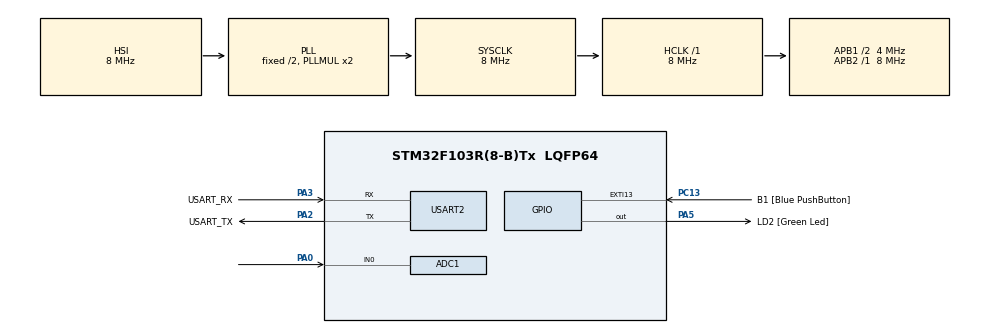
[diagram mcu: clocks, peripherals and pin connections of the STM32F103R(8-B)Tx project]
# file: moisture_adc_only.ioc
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ADC1.Channel-3\#ChannelRegularConversion=ADC_CHANNEL_0
ADC1.EnableAnalogWatchDog=false
ADC1.NbrOfConversionFlag=1
ADC1.Rank-3\#ChannelRegularConversion=1
ADC1.SamplingTime-3\#ChannelRegularConversion=ADC_SAMPLETIME_71CYCLES_5
ADC1.master=1
Mcu.Family=STM32F1
Mcu.Name=STM32F103R(8-B)Tx
Mcu.Package=LQFP64
NVIC.EXTI15_10_IRQn=true\:0\:0\:false\:false\:true\:true\:true\:true
NVIC.PriorityGroup=NVIC_PRIORITYGROUP_4
PA0-WKUP.Signal=ADCx_IN0
PA13.GPIO_Label=TMS
PA13.Mode=Serial_Wire
PA13.Signal=SYS_JTMS-SWDIO
PA14.GPIO_Label=TCK
PA14.Mode=Serial_Wire
PA14.Signal=SYS_JTCK-SWCLK
PA2.GPIO_Label=USART_TX
PA2.GPIO_Mode=GPIO_MODE_AF_PP
PA2.GPIO_PuPd=GPIO_NOPULL
PA2.GPIO_Speed=GPIO_SPEED_FREQ_LOW
PA2.Mode=Asynchronous
PA2.Signal=USART2_TX
PA3.GPIO_Label=USART_RX
PA3.GPIO_Mode=GPIO_MODE_AF_PP
PA3.GPIO_PuPd=GPIO_NOPULL
PA3.GPIO_Speed=GPIO_SPEED_FREQ_LOW
PA3.Mode=Asynchronous
PA3.Signal=USART2_RX
PA5.GPIO_Label=LD2 [Green Led]
PA5.GPIO_ModeDefaultOutputPP=GPIO_MODE_OUTPUT_PP
PA5.GPIO_PuPd=GPIO_NOPULL
PA5.GPIO_Speed=GPIO_SPEED_FREQ_LOW
PA5.Signal=GPIO_Output
PB3.GPIO_Label=SWO
PB3.Signal=SYS_JTDO-TRACESWO
PC13-TAMPER-RTC.GPIO_Label=B1 [Blue PushButton]
PC13-TAMPER-RTC.GPIO_PuPd=GPIO_NOPULL
PC13-TAMPER-RTC.Signal=GPXTI13
PC14-OSC32_IN.Mode=LSE-External-Oscillator
PC14-OSC32_IN.Signal=RCC_OSC32_IN
PC15-OSC32_OUT.Mode=LSE-External-Oscillator
PC15-OSC32_OUT.Signal=RCC_OSC32_OUT
PD0-OSC_IN.Mode=HSE-External-Clock-Source
PD0-OSC_IN.Signal=RCC_OSC_IN
PD1-OSC_OUT.Mode=HSE-External-Clock-Source
PD1-OSC_OUT.Signal=RCC_OSC_OUT
ProjectManager.HeapSize=0x200
ProjectManager.StackSize=0x400
ProjectManager.TargetToolchain=STM32CubeIDE
RCC.AHBFreq_Value=8000000
RCC.APB1CLKDivider=RCC_HCLK_DIV2
RCC.APB1Freq_Value=4000000
RCC.APB1TimFreq_Value=8000000
RCC.APB2Freq_Value=8000000
RCC.APB2TimFreq_Value=8000000
RCC.HCLKFreq_Value=8000000
RCC.RTCClockSelection=RCC_RTCCLKSOURCE_LSE
RCC.SYSCLKFreq_VALUE=8000000
RCC.SYSCLKSource=RCC_SYSCLKSOURCE_PLLCLK
RCC.USBFreq_Value=8000000
SH.ADCx_IN0.0=ADC1_IN0,IN0
USART2.VirtualMode=VM_ASYNC
board=NUCLEO-F103RB

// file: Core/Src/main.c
/* USER CODE BEGIN Header */
/**
  ******************************************************************************
  * @file           : main.c
  * @brief          : Main program body
  ******************************************************************************
  * @attention
  *
  * Copyright (c) 2025 STMicroelectronics.
  * All rights reserved.
  *
  * This software is licensed under terms that can be found in the LICENSE file
  * in the root directory of this software component.
  * If no LICENSE file comes with this software, it is provided AS-IS.
  *
  ******************************************************************************
  */
/* USER CODE END Header */
#include "main.h"
#include <stdio.h>

ADC_HandleTypeDef hadc1;

UART_HandleTypeDef huart2;

void SystemClock_Config(void);
static void MX_GPIO_Init(void);
static void MX_USART2_UART_Init(void);
static void MX_ADC1_Init(void);

/* USER CODE BEGIN 0 */
#define SAMPLE_MS  100   // 샘플링 주기(예: 100ms = 10Hz)
#define PRINT_MS   500   // 출력 주기(예: 0.5s)

static uint8_t  ema_init = 0;
static float    ema_adc  = 0.0f;  // 이동평균(노이즈 완화)

// 단일 샘플 읽기(블로킹이지만 1~2ms)
/* hadc1은 이미 전역으로 선언되어 있으므로 그대로 사용 */
static inline uint32_t adc_read_once(void){
  HAL_ADC_Start(&hadc1);
  HAL_ADC_PollForConversion(&hadc1, 2);
  uint32_t v = HAL_ADC_GetValue(&hadc1);
  HAL_ADC_Stop(&hadc1);
  return v;
}

// printf를 UART2로 리다이렉트
int _write(int file, char *ptr, int len) {
  extern UART_HandleTypeDef huart2;
  HAL_UART_Transmit(&huart2, (uint8_t*)ptr, len, HAL_MAX_DELAY);
  return len;
}

/* 캘리브레이션 값 — 나중에 네 값으로 바꿔줘 */
#define DRY_ADC_F 4018.0f
#define WET_ADC_F 2725.0f

static float moisture_percent(uint32_t adc_u32){
  float adc = (float)adc_u32;
  float den = (WET_ADC_F - DRY_ADC_F);
  if (den > -0.5f && den < 0.5f) return 0.0f; // 안전가드
  float p = (adc - DRY_ADC_F) * 100.0f / den;
  if (p < 0.0f) p = 0.0f;
  if (p > 100.0f) p = 100.0f;
  return p;

  /*
   * if(DRY_ADC>WET_ADC){
    float p=(float)(DRY_ADC-adc)*100.0f/(float)(DRY_ADC-WET_ADC);
    return clampf(p,0.0f,100.0f);
  }else{
    float p=(float)(adc-DRY_ADC)*100.0f/(float)(WET_ADC-DRY_ADC);
    return clampf(p,0.0f,100.0f);
  }
  */
}
/* USER CODE END 0 */

int main(void)
{

  /* MCU Configuration--------------------------------------------------------*/

  /* Reset of all peripherals, Initializes the Flash interface and the Systick. */
  HAL_Init();

  /* Configure the system clock */
  SystemClock_Config();

  /* USER CODE BEGIN SysInit */
  __HAL_RCC_ADC_CONFIG(RCC_ADCPCLK2_DIV6); //PCLK2 / 6(≈12 MHz)
  /* USER CODE END SysInit */

  /* Initialize all configured peripherals */
  MX_GPIO_Init();
  MX_USART2_UART_Init();
  MX_ADC1_Init();
  /* USER CODE BEGIN 2 */
  printf("\r\n[STM32] Soil moisture (ADC only) start\r\n");
  HAL_ADCEx_Calibration_Start(&hadc1); // F1 보정
  uint32_t t_sample = HAL_GetTick();
  uint32_t t_print  = HAL_GetTick();
  /* USER CODE END 2 */

  /* Infinite loop */
  while (1)
  {

    /* USER CODE BEGIN 3 */
	  uint32_t now = HAL_GetTick();

	    // ① 주기적 샘플(10Hz): 이동평균
	    if ((uint32_t)(now - t_sample) >= SAMPLE_MS) {
	      t_sample += SAMPLE_MS;  // 누적형 갱신(드리프트 방지)
	      uint32_t a = adc_read_once();
	      if (!ema_init) { ema_init = 1; ema_adc = (float)a; }
	      else           { ema_adc = 0.8f*ema_adc + 0.2f*(float)a; } // 알파=0.2
	    }

	    // ② 주기적 출력(0.5s)
	    if ((uint32_t)(now - t_print) >= PRINT_MS) {
	      t_print += PRINT_MS;
	      uint32_t adc = (uint32_t)(ema_adc + 0.5f);
	      float volt = 3.3f * (float)adc / 4095.0f;
	      float pct  = moisture_percent(adc);
	      printf("ADC=%lu, V=%.3fV, Moisture=%.1f%%\r\n",
	             (unsigned long)adc, volt, pct);
	    }

	    // CPU 과점유 방지(선택)
	    HAL_Delay(1);
  }
  /* USER CODE END 3 */
}

void SystemClock_Config(void)
{
  RCC_OscInitTypeDef RCC_OscInitStruct = {0};
  RCC_ClkInitTypeDef RCC_ClkInitStruct = {0};
  RCC_PeriphCLKInitTypeDef PeriphClkInit = {0};

  /** Initializes the RCC Oscillators according to the specified parameters
  * in the RCC_OscInitTypeDef structure.
  */
  RCC_OscInitStruct.OscillatorType = RCC_OSCILLATORTYPE_HSI;
  RCC_OscInitStruct.HSIState = RCC_HSI_ON;
  RCC_OscInitStruct.HSICalibrationValue = RCC_HSICALIBRATION_DEFAULT;
  RCC_OscInitStruct.PLL.PLLState = RCC_PLL_ON;
  RCC_OscInitStruct.PLL.PLLSource = RCC_PLLSOURCE_HSI_DIV2;
  RCC_OscInitStruct.PLL.PLLMUL = RCC_PLL_MUL2;
  if (HAL_RCC_OscConfig(&RCC_OscInitStruct) != HAL_OK)
  {
    Error_Handler();
  }

  /** Initializes the CPU, AHB and APB buses clocks
  */
  RCC_ClkInitStruct.ClockType = RCC_CLOCKTYPE_HCLK|RCC_CLOCKTYPE_SYSCLK
                              |RCC_CLOCKTYPE_PCLK1|RCC_CLOCKTYPE_PCLK2;
  RCC_ClkInitStruct.SYSCLKSource = RCC_SYSCLKSOURCE_PLLCLK;
  RCC_ClkInitStruct.AHBCLKDivider = RCC_SYSCLK_DIV1;
  RCC_ClkInitStruct.APB1CLKDivider = RCC_HCLK_DIV2;
  RCC_ClkInitStruct.APB2CLKDivider = RCC_HCLK_DIV1;

  if (HAL_RCC_ClockConfig(&RCC_ClkInitStruct, FLASH_LATENCY_0) != HAL_OK)
  {
    Error_Handler();
  }
  PeriphClkInit.PeriphClockSelection = RCC_PERIPHCLK_ADC;
  PeriphClkInit.AdcClockSelection = RCC_ADCPCLK2_DIV2;
  if (HAL_RCCEx_PeriphCLKConfig(&PeriphClkInit) != HAL_OK)
  {
    Error_Handler();
  }
}

static void MX_ADC1_Init(void)
{

  ADC_ChannelConfTypeDef sConfig = {0};

  /** Common config
  */
  hadc1.Instance = ADC1;
  hadc1.Init.ScanConvMode = ADC_SCAN_DISABLE;
  hadc1.Init.ContinuousConvMode = DISABLE;
  hadc1.Init.DiscontinuousConvMode = DISABLE;
  hadc1.Init.ExternalTrigConv = ADC_SOFTWARE_START;
  hadc1.Init.DataAlign = ADC_DATAALIGN_RIGHT;
  hadc1.Init.NbrOfConversion = 1;
  if (HAL_ADC_Init(&hadc1) != HAL_OK)
  {
    Error_Handler();
  }

  /** Configure Regular Channel
  */
  sConfig.Channel = ADC_CHANNEL_0;
  sConfig.Rank = ADC_REGULAR_RANK_1;
  sConfig.SamplingTime = ADC_SAMPLETIME_71CYCLES_5;
  if (HAL_ADC_ConfigChannel(&hadc1, &sConfig) != HAL_OK)
  {
    Error_Handler();
  }

}

static void MX_USART2_UART_Init(void)
{

  huart2.Instance = USART2;
  huart2.Init.BaudRate = 115200;
  huart2.Init.WordLength = UART_WORDLENGTH_8B;
  huart2.Init.StopBits = UART_STOPBITS_1;
  huart2.Init.Parity = UART_PARITY_NONE;
  huart2.Init.Mode = UART_MODE_TX_RX;
  huart2.Init.HwFlowCtl = UART_HWCONTROL_NONE;
  huart2.Init.OverSampling = UART_OVERSAMPLING_16;
  if (HAL_UART_Init(&huart2) != HAL_OK)
  {
    Error_Handler();
  }

}

static void MX_GPIO_Init(void)
{
  GPIO_InitTypeDef GPIO_InitStruct = {0};

  /* GPIO Ports Clock Enable */
  __HAL_RCC_GPIOC_CLK_ENABLE();
  __HAL_RCC_GPIOD_CLK_ENABLE();
  __HAL_RCC_GPIOA_CLK_ENABLE();
  __HAL_RCC_GPIOB_CLK_ENABLE();

  /*Configure GPIO pin Output Level */
  HAL_GPIO_WritePin(LD2_GPIO_Port, LD2_Pin, GPIO_PIN_RESET);

  /*Configure GPIO pin : B1_Pin */
  GPIO_InitStruct.Pin = B1_Pin;
  GPIO_InitStruct.Mode = GPIO_MODE_IT_RISING;
  GPIO_InitStruct.Pull = GPIO_NOPULL;
  HAL_GPIO_Init(B1_GPIO_Port, &GPIO_InitStruct);

  /*Configure GPIO pin : LD2_Pin */
  GPIO_InitStruct.Pin = LD2_Pin;
  GPIO_InitStruct.Mode = GPIO_MODE_OUTPUT_PP;
  GPIO_InitStruct.Pull = GPIO_NOPULL;
  GPIO_InitStruct.Speed = GPIO_SPEED_FREQ_LOW;
  HAL_GPIO_Init(LD2_GPIO_Port, &GPIO_InitStruct);

  /* EXTI interrupt init*/
  HAL_NVIC_SetPriority(EXTI15_10_IRQn, 0, 0);
  HAL_NVIC_EnableIRQ(EXTI15_10_IRQn);

}

void Error_Handler(void)
{
  __disable_irq();
  while (1)
  {
  }
}
